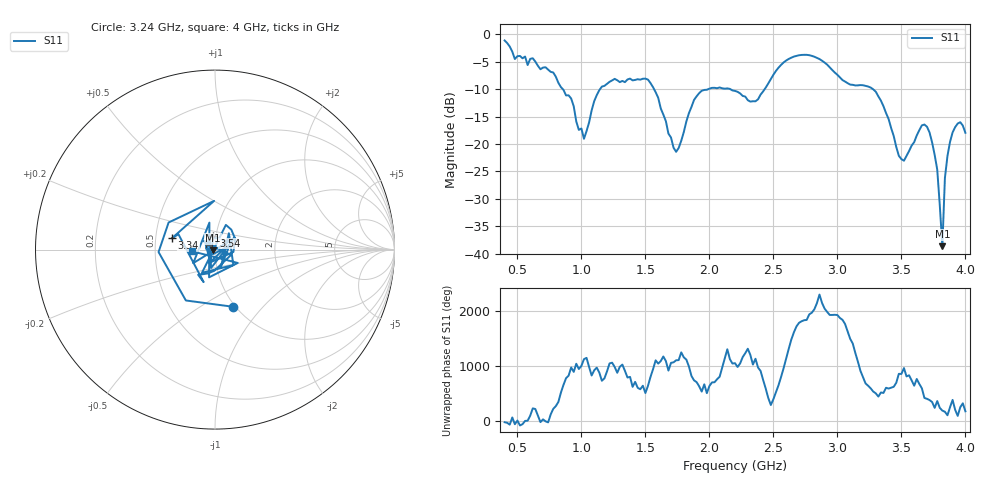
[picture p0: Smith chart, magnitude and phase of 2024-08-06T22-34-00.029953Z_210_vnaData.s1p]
!Created with skrf (http://scikit-rf.org).
# Hz S RI R 50.0
!freq ReS11 ImS11
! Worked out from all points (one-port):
!   181 points, 400 MHz to 4 GHz, reference 50 ohm
!   lowest |S11| = -38.6 dB at 3.82 GHz (marker M1), VSWR 1.02, Z = 48.9 - j0.342 ohm
!   |S11| at or under -10 dB: 854.5 MHz to 1.146 GHz (291.2 MHz wide, 29.1 % of centre); 1.568 GHz to 1.992 GHz (424.2 MHz wide, 23.8 % of centre); 3.278 GHz to end of sweep (the widest 3 of 4)
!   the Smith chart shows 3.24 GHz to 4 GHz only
!   S11 on the Smith chart (normalised r, x): 3.24 GHz: 0.98, -0.70; 3.34 GHz: 0.61, +0.08; 3.54 GHz: 0.97, +0.15; 4 GHz: 0.78, -0.02
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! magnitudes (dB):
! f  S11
! 400 MHz  -1.1
! 480 MHz  -4.5
! 860 MHz  -10.1
! 1.02 GHz  -19.0
! 1.14 GHz  -10.2
! 1.3 GHz  -8.7
! 1.52 GHz  -8.3
! 1.72 GHz  -20.7
! 1.76 GHz  -20.7
! 1.92 GHz  -10.7
! 2.2 GHz  -10.3
! 2.36 GHz  -12.2
! 2.66 GHz  -4.1
! 2.86 GHz  -4.5
! 3.1 GHz  -9.2
! 3.24 GHz  -9.5
! 3.34 GHz  -12.1
! 3.48 GHz  -22.1
! 3.54 GHz  -22.1
! 3.56 GHz  -21.3
! 3.66 GHz  -16.6
! 3.72 GHz  -17.9
! 3.78 GHz  -24.7
! 3.82 GHz  -38.6
! 3.84 GHz  -26.2
! 3.88 GHz  -19.6
! 3.94 GHz  -16.3
! 4 GHz  -18.0
